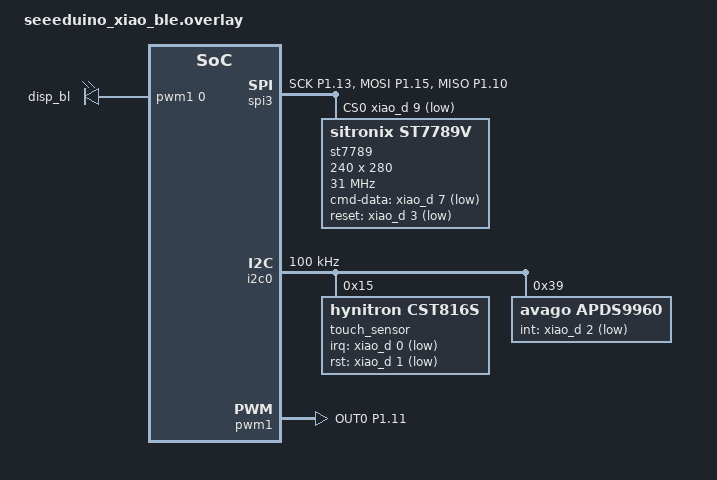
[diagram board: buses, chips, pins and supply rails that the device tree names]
/ {
   pwmleds {
      compatible = "pwm-leds";
      disp_bl: pwm_led_1 {
          pwms = <&pwm1 0 PWM_MSEC(1) PWM_POLARITY_NORMAL>;
      };
  };
};

&spi2 {
   status = "disabled";
};

&pinctrl {
   spi3_default: spi3_default {
		group1 {
			psels = <NRF_PSEL(SPIM_SCK, 1, 13)>,
				<NRF_PSEL(SPIM_MOSI, 1, 15)>,
				<NRF_PSEL(SPIM_MISO, 1, 10)>;
		};
	};

	spi3_sleep: spi3_sleep {
		group1 {
			psels = <NRF_PSEL(SPIM_SCK, 1, 13)>,
				<NRF_PSEL(SPIM_MOSI, 1, 15)>,
				<NRF_PSEL(SPIM_MISO, 1, 10)>;
			low-power-enable;
		};
	};

   pwm1_default: pwm1_default {
      group1 {
         psels = <NRF_PSEL(PWM_OUT0, 1, 11)>;
         nordic,invert;
      };
   };

   pwm1_sleep: pwm1_sleep {
      group1 {
         psels = <NRF_PSEL(PWM_OUT0, 1, 11)>;
         low-power-enable;
      };
   };
};

disp_spi: &spi3 {
   status = "okay";
   pinctrl-0 = <&spi3_default>;
	pinctrl-1 = <&spi3_sleep>;
	pinctrl-names = "default", "sleep";
   cs-gpios = <&xiao_d 9 GPIO_ACTIVE_LOW>;

   st7789: st7789v@0 {
       compatible = "sitronix,st7789v";
       spi-max-frequency = <31000000>;
       reg = <0>;
       cmd-data-gpios = <&xiao_d 7 GPIO_ACTIVE_LOW>;
       reset-gpios = <&xiao_d 3 GPIO_ACTIVE_LOW>;
       width = <240>;
       height = <280>;
       x-offset = <0>;
       y-offset = <20>;
       vcom = <0x19>;
       gctrl = <0x35>;
       vrhs = <0x12>;
       vdvs = <0x20>;
       mdac = <0x00>;
       gamma = <0x01>;
       colmod = <0x05>;
       lcm = <0x2c>;
       porch-param = [ 0c 0c 00 33 33  ];
       cmd2en-param = [ 5a 69 02 01  ];
       pwctrl1-param = [ a4 a1  ];
       pvgam-param = [ D0 04 0D 11 13 2B 3F 54 4C 18 0D 0B 1F 23  ];
       nvgam-param = [ D0 04 0C 11 13 2C 3F 44 51 2F 1F 1F 20 23  ];
       ram-param = [ 00 F0  ];
       rgb-param = [ CD 08 14  ];
   };
};

&i2c0 {
    status = "okay";
    compatible = "nordic,nrf-twim";
    pinctrl-0 = <&i2c0_default>;
    pinctrl-1 = <&i2c0_sleep>;
    pinctrl-names = "default", "sleep";
    clock-frequency = <100000>;  // Standard mode 100kHz

    // CST816S Touch Controller (Step 5b - enabled when CONFIG_INPUT_CST816S=y)
    touch_sensor: cst816s@15 {
        compatible = "hynitron,cst816s";
        reg = <0x15>;
        status = "okay";

        // Touch panel control pins
        // TP_IRQ → D0 = P0.02 (interrupt pin)
        // TP_RST → D1 = P0.28 (reset pin)
        irq-gpios = <&xiao_d 0 (GPIO_ACTIVE_LOW | GPIO_PULL_UP)>;
        rst-gpios = <&xiao_d 1 GPIO_ACTIVE_LOW>;
    };

   apds9960: apds9960@39 {
       compatible = "avago,apds9960";
       status = "okay";
       reg = <0x39>;
       int-gpios = <&xiao_d 2 (GPIO_ACTIVE_LOW | GPIO_PULL_UP)>;
   };
};

&pwm1 {
  status = "okay";
  pinctrl-0 = <&pwm1_default>;
  pinctrl-1 = <&pwm1_sleep>;
  pinctrl-names = "default", "sleep";
};

